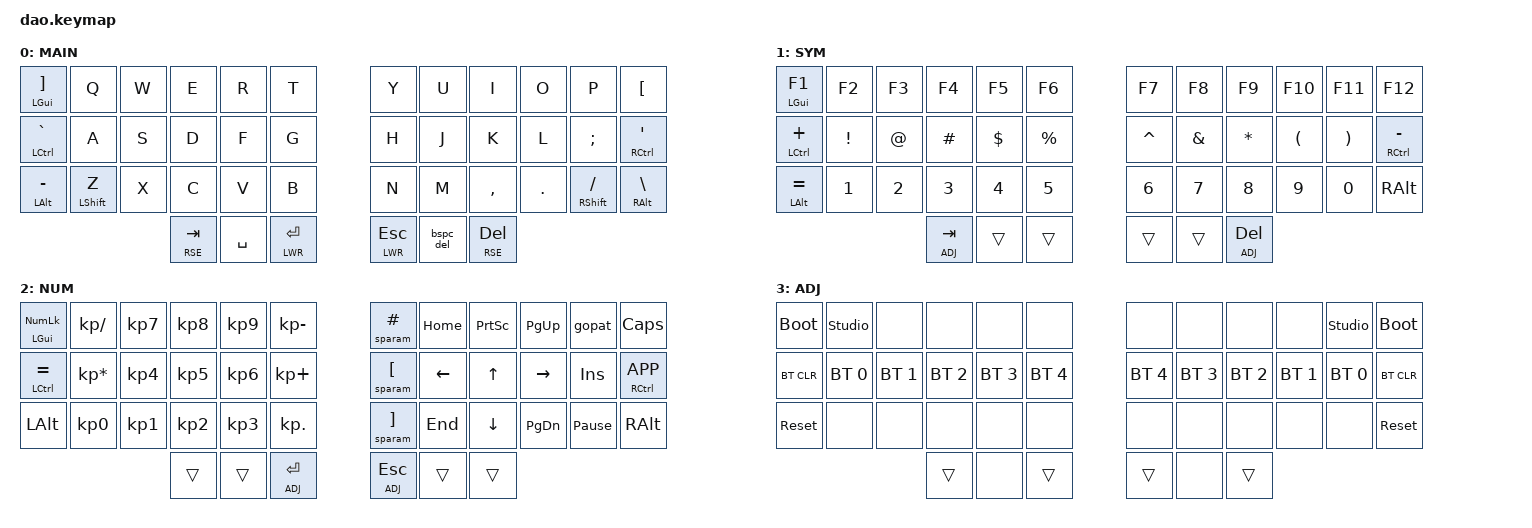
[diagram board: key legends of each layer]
/*
 * Copyright (c) 2021 Rafael Yumagulov
 *
 * SPDX-License-Identifier: MIT
 */

#include <behaviors.dtsi>
#include <dt-bindings/zmk/keys.h>
#include <dt-bindings/zmk/bt.h>
    

#define DEF 0
#define LWR 1
#define RSE 2
#define ADJ 3

&lt { quick_tap_ms = <200>; };
&mt { quick_tap_ms = <200>; };

/ {
    macros {
        gopat: gopat {
            compatible = "zmk,behavior-macro";
            #binding-cells = <0>;
            wait-ms = <1>;
            tap-ms = <1>;
            bindings
                = <&macro_tap &kp I &kp F &kp SPACE &kp E &kp R &kp R &kp SPACE &kp EXCL &kp EQUAL &kp SPACE &kp N &kp I &kp L &kp SPACE &kp LS(LBKT) &kp RET>
                ;
        };
    };
};

/ {
    macros {
        sparam: sparam {
            compatible = "zmk,behavior-macro-one-param";
            #binding-cells = <1>;
            bindings
                = <&macro_press &kp LGUI>
                , <&macro_tap &kp SPACE>
                , <&macro_release &kp LGUI>
                , <&macro_param_1to1>
                , <&macro_tap &kp MACRO_PLACEHOLDER>
                , <&macro_press &kp LGUI>
                , <&macro_tap &kp SPACE>
                , <&macro_release &kp LGUI>
                ;
        };
    };
};

/ {
    chosen {
        zmk,physical_layout = &dao_crkbd_layout;
        // zmk,physical_layout = &dao_full_layout;
    };
};

/ {
    behaviors {
        bspc_del: backspace_delete {
            compatible = "zmk,behavior-mod-morph";
            #binding-cells = <0>;
            bindings = <&kp BACKSPACE>, <&kp DELETE>;
            mods = <(MOD_LSFT|MOD_RSFT)>;
            keep-mods = <0>;
        };
    };
};

/ {
        keymap {
                compatible = "zmk,keymap";

                default_layer {
                        display-name = "MAIN";
                        bindings = <
          &mt LGUI RBKT     &kp Q         &kp W   &kp E         &kp R             &kp T         &kp Y         &kp U            &kp I         &kp O     &kp P            &kp LBKT
          &mt LCTRL GRAVE   &kp A         &kp S   &kp D         &kp F             &kp G         &kp H         &kp J            &kp K         &kp L     &kp SEMI         &mt RCTRL SQT
          &mt LALT MINUS    &mt LSHFT Z   &kp X   &kp C         &kp V             &kp B         &kp N         &kp M            &kp COMMA     &kp DOT   &mt RSHFT FSLH   &mt RALT BSLH
                                                  &lt RSE TAB   &kp SPACE         &lt LWR RET   &lt LWR ESC   &bspc_del        &lt RSE DEL
                        >;
                };
                lower_layer {
                        display-name = "SYM";
                        bindings = <
          &mt LGUI F1      &kp F2     &kp F3   &kp F4        &kp F5     &kp F6      &kp F7      &kp F8     &kp F9        &kp F10    &kp F11    &kp F12
          &mt LCTRL PLUS   &kp EXCL   &kp AT   &kp HASH      &kp DLLR   &kp PRCNT   &kp CARET   &kp AMPS   &kp STAR      &kp LPAR   &kp RPAR   &mt RCTRL MINUS
          &mt LALT EQUAL   &kp N1     &kp N2   &kp N3        &kp N4     &kp N5      &kp N6      &kp N7     &kp N8        &kp N9     &kp N0     &kp RALT
                                               &lt ADJ TAB   &trans     &trans      &trans      &trans     &lt ADJ DEL
                        >;
                };

                raise_layer {
                        display-name = "NUM";
                        bindings = <
          &mt LGUI KP_NUM   &kp KP_SLASH      &kp KP_N7   &kp KP_N8   &kp KP_N9   &kp KP_MINUS   &sparam HASH   &kp HOME   &kp PSCRN   &kp PG_UP   &gopat            &kp CLCK
          &mt LCTRL EQUAL   &kp KP_MULTIPLY   &kp KP_N4   &kp KP_N5   &kp KP_N6   &kp KP_PLUS    &sparam LBKT   &kp LEFT   &kp UP      &kp RIGHT   &kp INS           &mt RCTRL  K_APP
          &kp LALT          &kp KP_N0         &kp KP_N1   &kp KP_N2   &kp KP_N3   &kp KP_DOT     &sparam RBKT   &kp END    &kp DOWN    &kp PG_DN   &kp PAUSE_BREAK   &kp RALT
                                                          &trans      &trans      &lt ADJ RET    &lt ADJ ESC    &trans     &trans
                        >;
                };
                adjust_layer {
                        display-name = "ADJ";
                        bindings = <
 &bootloader   &studio_unlock &none          &none          &none          &none          &none          &none          &none          &none          &studio_unlock &bootloader
 &bt BT_CLR    &bt BT_SEL 0   &bt BT_SEL 1   &bt BT_SEL 2   &bt BT_SEL 3   &bt BT_SEL 4   &bt BT_SEL 4   &bt BT_SEL 3   &bt BT_SEL 2   &bt BT_SEL 1   &bt BT_SEL 0   &bt BT_CLR
 &sys_reset    &none          &none          &none          &none          &none          &none          &none          &none          &none          &none          &sys_reset
                                             &trans         &none          &trans         &trans         &none          &trans
                        >;
                };
        };
};
